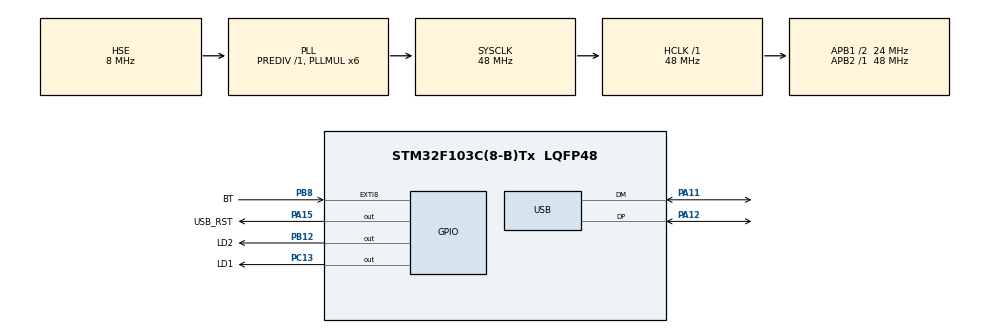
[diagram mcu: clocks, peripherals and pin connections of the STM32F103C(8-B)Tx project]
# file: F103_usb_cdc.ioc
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Mcu.Family=STM32F1
Mcu.Name=STM32F103C(8-B)Tx
Mcu.Package=LQFP48
NVIC.EXTI9_5_IRQn=true\:1\:0\:true\:false\:true\:true\:true
NVIC.PriorityGroup=NVIC_PRIORITYGROUP_4
NVIC.TIM3_IRQn=true\:2\:0\:true\:false\:true\:true\:true
NVIC.USB_LP_CAN1_RX0_IRQn=true\:0\:0\:false\:false\:true\:false\:true
PA11.Mode=Device
PA11.Signal=USB_DM
PA12.Mode=Device
PA12.Signal=USB_DP
PA13.Mode=Serial_Wire
PA13.Signal=SYS_JTMS-SWDIO
PA14.Mode=Serial_Wire
PA14.Signal=SYS_JTCK-SWCLK
PA15.GPIO_Label=USB_RST
PA15.GPIO_ModeDefaultOutputPP=GPIO_MODE_OUTPUT_OD
PA15.Signal=GPIO_Output
PB12.GPIO_Label=LD2
PB12.PinState=GPIO_PIN_SET
PB12.Signal=GPIO_Output
PB8.GPIO_Label=BT
PB8.GPIO_ModeDefaultEXTI=GPIO_MODE_IT_FALLING
PB8.Signal=GPXTI8
PC13-TAMPER-RTC.GPIO_Label=LD1
PC13-TAMPER-RTC.PinState=GPIO_PIN_SET
PC13-TAMPER-RTC.Signal=GPIO_Output
PD0-OSC_IN.Mode=HSE-External-Oscillator
PD0-OSC_IN.Signal=RCC_OSC_IN
PD1-OSC_OUT.Mode=HSE-External-Oscillator
PD1-OSC_OUT.Signal=RCC_OSC_OUT
ProjectManager.HeapSize=0x400
ProjectManager.StackSize=0x800
ProjectManager.TargetToolchain=STM32CubeIDE
RCC.AHBFreq_Value=48000000
RCC.APB1CLKDivider=RCC_HCLK_DIV2
RCC.APB1Freq_Value=24000000
RCC.APB1TimFreq_Value=48000000
RCC.APB2Freq_Value=48000000
RCC.APB2TimFreq_Value=48000000
RCC.HCLKFreq_Value=48000000
RCC.PLLMUL=RCC_PLL_MUL6
RCC.SYSCLKFreq_VALUE=48000000
RCC.SYSCLKSource=RCC_SYSCLKSOURCE_PLLCLK
RCC.USBFreq_Value=48000000
TIM3.AutoReloadPreload=TIM_AUTORELOAD_PRELOAD_DISABLE
TIM3.Period=1000-1
TIM3.Prescaler=48000-1
USB_DEVICE.CLASS_NAME_FS=CDC
USB_DEVICE.VirtualMode=Cdc
USB_DEVICE.VirtualModeFS=Cdc_FS
VP_TIM3_VS_ClockSourceINT.Mode=Internal
VP_USB_DEVICE_VS_USB_DEVICE_CDC_FS.Mode=CDC_FS
board=custom

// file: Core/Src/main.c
/* USER CODE BEGIN Header */
/**
  ******************************************************************************
  * @file           : main.c
  * @brief          : Main program body
  ******************************************************************************
  * @attention
  *
  * <h2><center>&copy; Copyright (c) 2020 STMicroelectronics.
  * All rights reserved.</center></h2>
  *
  * This software component is licensed by ST under BSD 3-Clause license,
  * the "License"; You may not use this file except in compliance with the
  * License. You may obtain a copy of the License at:
  *                        opensource.org/licenses/BSD-3-Clause
  *
  ******************************************************************************
  */
/* USER CODE END Header */
#include "main.h"
#include "tim.h"
#include "usb_device.h"
#include "gpio.h"

/* USER CODE BEGIN Includes */
#include <stdio.h>
#include "usbd_cdc_if.h"
/* USER CODE END Includes */

/* USER CODE BEGIN PV */
extern USBD_HandleTypeDef hUsbDeviceFS;
/* USER CODE END PV */

void SystemClock_Config(void);

/* USER CODE BEGIN 0 */
#ifdef __GNUC__ // for GCC
int _write (int file, uint8_t *ptr, int len)
{
	if (hUsbDeviceFS.dev_state == USBD_STATE_SUSPENDED) return 0;

	USBD_CDC_HandleTypeDef *hcdc = (USBD_CDC_HandleTypeDef*)hUsbDeviceFS.pClassData;
	if (hcdc->TxState != 0) return 0;

	CDC_Transmit_FS(ptr, len);
	return len;
}
#elif ( __ICCARM__ || __CC_ARM )  // for IAR EWARM & Keil MDK uVision
int fputc(int c, FILE *stream)
{
	if (hUsbDeviceFS.dev_state == USBD_STATE_SUSPENDED) return 0;
	while(CDC_Transmit_FS((uint8_t *)&c, 1) != USBD_OK) {};
	return c;
}
#endif

void SM_VCP_Write(char *txbuffer)
{
  if (hUsbDeviceFS.dev_state == USBD_STATE_SUSPENDED) return;

  USBD_CDC_HandleTypeDef *hcdc = (USBD_CDC_HandleTypeDef*)hUsbDeviceFS.pClassData;
  if (hcdc->TxState != 0) return;

  CDC_Transmit_FS((uint8_t *)txbuffer, strlen((const char *)txbuffer));
}
/* USER CODE END 0 */

int main(void)
{

  /* MCU Configuration--------------------------------------------------------*/

  /* Reset of all peripherals, Initializes the Flash interface and the Systick. */
  HAL_Init();

  /* Configure the system clock */
  SystemClock_Config();

  /* Initialize all configured peripherals */
  MX_GPIO_Init();
  MX_USB_DEVICE_Init();
  MX_TIM3_Init();
  /* USER CODE BEGIN 2 */
  HAL_TIM_Base_Start_IT(&htim3);

  /* USER CODE END 2 */

  /* Infinite loop */
  /* USER CODE BEGIN WHILE */
  while (1)
  {
	  static int i, ticks;

	  i++;
	  ticks = HAL_GetTick();

	  printf("%d tick : %d\r\n", i, ticks);

	  HAL_GPIO_TogglePin(LD2_GPIO_Port, LD2_Pin);
	  HAL_Delay(1000);

	  SM_VCP_Write("hello world\r\n");

    /* USER CODE END WHILE */

  }
}

void SystemClock_Config(void)
{
  RCC_OscInitTypeDef RCC_OscInitStruct = {0};
  RCC_ClkInitTypeDef RCC_ClkInitStruct = {0};
  RCC_PeriphCLKInitTypeDef PeriphClkInit = {0};

  /** Initializes the RCC Oscillators according to the specified parameters
  * in the RCC_OscInitTypeDef structure.
  */
  RCC_OscInitStruct.OscillatorType = RCC_OSCILLATORTYPE_HSE;
  RCC_OscInitStruct.HSEState = RCC_HSE_ON;
  RCC_OscInitStruct.HSEPredivValue = RCC_HSE_PREDIV_DIV1;
  RCC_OscInitStruct.HSIState = RCC_HSI_ON;
  RCC_OscInitStruct.PLL.PLLState = RCC_PLL_ON;
  RCC_OscInitStruct.PLL.PLLSource = RCC_PLLSOURCE_HSE;
  RCC_OscInitStruct.PLL.PLLMUL = RCC_PLL_MUL6;
  if (HAL_RCC_OscConfig(&RCC_OscInitStruct) != HAL_OK)
  {
    Error_Handler();
  }
  /** Initializes the CPU, AHB and APB buses clocks
  */
  RCC_ClkInitStruct.ClockType = RCC_CLOCKTYPE_HCLK|RCC_CLOCKTYPE_SYSCLK
                              |RCC_CLOCKTYPE_PCLK1|RCC_CLOCKTYPE_PCLK2;
  RCC_ClkInitStruct.SYSCLKSource = RCC_SYSCLKSOURCE_PLLCLK;
  RCC_ClkInitStruct.AHBCLKDivider = RCC_SYSCLK_DIV1;
  RCC_ClkInitStruct.APB1CLKDivider = RCC_HCLK_DIV2;
  RCC_ClkInitStruct.APB2CLKDivider = RCC_HCLK_DIV1;

  if (HAL_RCC_ClockConfig(&RCC_ClkInitStruct, FLASH_LATENCY_1) != HAL_OK)
  {
    Error_Handler();
  }
  PeriphClkInit.PeriphClockSelection = RCC_PERIPHCLK_USB;
  PeriphClkInit.UsbClockSelection = RCC_USBCLKSOURCE_PLL;
  if (HAL_RCCEx_PeriphCLKConfig(&PeriphClkInit) != HAL_OK)
  {
    Error_Handler();
  }
}

void Error_Handler(void)
{
}

/************************ (C) COPYRIGHT STMicroelectronics *****END OF FILE****/
